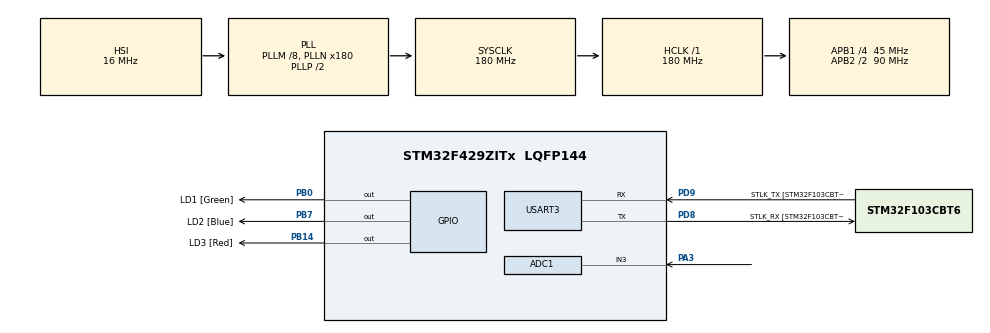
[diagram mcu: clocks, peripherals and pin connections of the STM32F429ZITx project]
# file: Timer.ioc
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ADC1.Channel-0\#ChannelRegularConversion=ADC_CHANNEL_3
ADC1.ExternalTrigConv=ADC_EXTERNALTRIGCONV_T2_TRGO
ADC1.NbrOfConversionFlag=1
ADC1.Rank-0\#ChannelRegularConversion=1
ADC1.SamplingTime-0\#ChannelRegularConversion=ADC_SAMPLETIME_3CYCLES
ADC1.master=1
Mcu.Family=STM32F4
Mcu.Name=STM32F429ZITx
Mcu.Package=LQFP144
NVIC.ADC_IRQn=true\:0\:0\:false\:false\:true\:true\:true\:true
NVIC.PriorityGroup=NVIC_PRIORITYGROUP_4
PA13.GPIO_Label=TMS
PA13.Mode=Serial_Wire
PA13.Signal=SYS_JTMS-SWDIO
PA14.GPIO_Label=TCK
PA14.Mode=Serial_Wire
PA14.Signal=SYS_JTCK-SWCLK
PA3.Signal=ADCx_IN3
PB0.GPIO_Label=LD1 [Green]
PB0.Signal=GPIO_Output
PB14.GPIO_Label=LD3 [Red]
PB14.Signal=GPIO_Output
PB7.GPIO_Label=LD2 [Blue]
PB7.Signal=GPIO_Output
PC14/OSC32_IN.Mode=LSE-External-Oscillator
PC14/OSC32_IN.Signal=RCC_OSC32_IN
PC15/OSC32_OUT.Mode=LSE-External-Oscillator
PC15/OSC32_OUT.Signal=RCC_OSC32_OUT
PD8.GPIO_Label=STLK_RX [STM32F103CBT6_PA3]
PD8.Mode=Asynchronous
PD8.Signal=USART3_TX
PD9.GPIO_Label=STLK_TX [STM32F103CBT6_PA2]
PD9.Mode=Asynchronous
PD9.Signal=USART3_RX
PH0/OSC_IN.GPIO_Label=MCO [STM32F103CBT6_PA8]
PH0/OSC_IN.Mode=HSE-External-Clock-Source
PH0/OSC_IN.Signal=RCC_OSC_IN
PH1/OSC_OUT.Mode=HSE-External-Clock-Source
PH1/OSC_OUT.Signal=RCC_OSC_OUT
ProjectManager.HeapSize=0x200
ProjectManager.StackSize=0x400
ProjectManager.TargetToolchain=STM32CubeIDE
RCC.48MHZClocksFreq_Value=51428571.428571425
RCC.AHBFreq_Value=180000000
RCC.APB1CLKDivider=RCC_HCLK_DIV4
RCC.APB1Freq_Value=45000000
RCC.APB1TimFreq_Value=90000000
RCC.APB2CLKDivider=RCC_HCLK_DIV2
RCC.APB2Freq_Value=90000000
RCC.APB2TimFreq_Value=180000000
RCC.CortexFreq_Value=180000000
RCC.HCLKFreq_Value=180000000
RCC.HSE_VALUE=8000000
RCC.HSI_VALUE=16000000
RCC.PLLM=8
RCC.PLLMUL=RCC_PLL_MUL9
RCC.PLLN=180
RCC.PLLQ=7
RCC.PRESCALERUSB=RCC_USBCLKSOURCE_PLL_DIV1_5
RCC.SYSCLKFreq_VALUE=180000000
RCC.SYSCLKSource=RCC_SYSCLKSOURCE_PLLCLK
RCC.SYSCLKSourceVirtual=RCC_SYSCLKSOURCE_PLLCLK
RCC.USBFreq_Value=48000000
RCC.VCOOutputFreq_Value=360000000
SH.ADCx_IN3.0=ADC1_IN3,IN3
TIM2.AutoReloadPreload=TIM_AUTORELOAD_PRELOAD_ENABLE
TIM2.CounterMode=TIM_COUNTERMODE_UP
TIM2.Period=9000000-1
TIM2.TIM_MasterOutputTrigger=TIM_TRGO_UPDATE
USART3.VirtualMode=VM_ASYNC
VP_TIM2_VS_ClockSourceINT.Mode=Internal
board=NUCLEO-F429ZI

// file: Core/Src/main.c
/* USER CODE BEGIN Header */
/**
  ******************************************************************************
  * @file           : main.c
  * @brief          : Main program body
  ******************************************************************************
  * @attention
  *
  * Copyright (c) 2024 STMicroelectronics.
  * All rights reserved.
  *
  * This software is licensed under terms that can be found in the LICENSE file
  * in the root directory of this software component.
  * If no LICENSE file comes with this software, it is provided AS-IS.
  *
  ******************************************************************************
  */
/* USER CODE END Header */
#include "main.h"
#include "adc.h"
#include "tim.h"
#include "usart.h"
#include "gpio.h"

/* USER CODE BEGIN Includes */
#include <stdio.h>
#include "app.h"
/* USER CODE END Includes */

/* USER CODE BEGIN PV */
extern TIM_HandleTypeDef htim2;
extern ADC_HandleTypeDef hadc1;
extern UART_HandleTypeDef huart3;
/* USER CODE END PV */

void SystemClock_Config(void);
volatile uint16_t flag_adc = 0;
/* USER CODE BEGIN PFP */
uint16_t valor_adc = 0;
float volt = 0.0;
char datos[10];

/* USER CODE END PFP */

int main(void)
{

  /* MCU Configuration--------------------------------------------------------*/

  /* Reset of all peripherals, Initializes the Flash interface and the Systick. */
  HAL_Init();

  /* Configure the system clock */
  SystemClock_Config();

  /* Initialize all configured peripherals */
  MX_GPIO_Init();
  MX_USART3_UART_Init();
  MX_TIM2_Init();
  MX_ADC1_Init();
  /* USER CODE BEGIN 2 */
  //HAL_TIM_Base_Start_IT(&htim2);
  HAL_TIM_Base_Start(&htim2);
  HAL_ADC_Start_IT(&hadc1);

  /* USER CODE END 2 */

  /* Infinite loop */
  while (1)
  {

    /* USER CODE BEGIN 3 */
	  app_main();
	  if(flag_adc)
	  {
		  valor_adc = HAL_ADC_GetValue(&hadc1);
		  volt = valor_adc*3.6/4095;
		  sprintf(datos,"%.2f \r\n",volt);
		  HAL_UART_Transmit(&huart3, datos, sizeof(datos), HAL_MAX_DELAY);
		  flag_adc = 0;
	  }
  }
  /* USER CODE END 3 */
}

void SystemClock_Config(void)
{
  RCC_OscInitTypeDef RCC_OscInitStruct = {0};
  RCC_ClkInitTypeDef RCC_ClkInitStruct = {0};

  /** Configure the main internal regulator output voltage
  */
  __HAL_RCC_PWR_CLK_ENABLE();
  __HAL_PWR_VOLTAGESCALING_CONFIG(PWR_REGULATOR_VOLTAGE_SCALE1);

  /** Initializes the RCC Oscillators according to the specified parameters
  * in the RCC_OscInitTypeDef structure.
  */
  RCC_OscInitStruct.OscillatorType = RCC_OSCILLATORTYPE_HSI;
  RCC_OscInitStruct.HSIState = RCC_HSI_ON;
  RCC_OscInitStruct.HSICalibrationValue = RCC_HSICALIBRATION_DEFAULT;
  RCC_OscInitStruct.PLL.PLLState = RCC_PLL_ON;
  RCC_OscInitStruct.PLL.PLLSource = RCC_PLLSOURCE_HSI;
  RCC_OscInitStruct.PLL.PLLM = 8;
  RCC_OscInitStruct.PLL.PLLN = 180;
  RCC_OscInitStruct.PLL.PLLP = RCC_PLLP_DIV2;
  RCC_OscInitStruct.PLL.PLLQ = 7;
  if (HAL_RCC_OscConfig(&RCC_OscInitStruct) != HAL_OK)
  {
    Error_Handler();
  }

  /** Activate the Over-Drive mode
  */
  if (HAL_PWREx_EnableOverDrive() != HAL_OK)
  {
    Error_Handler();
  }

  /** Initializes the CPU, AHB and APB buses clocks
  */
  RCC_ClkInitStruct.ClockType = RCC_CLOCKTYPE_HCLK|RCC_CLOCKTYPE_SYSCLK
                              |RCC_CLOCKTYPE_PCLK1|RCC_CLOCKTYPE_PCLK2;
  RCC_ClkInitStruct.SYSCLKSource = RCC_SYSCLKSOURCE_PLLCLK;
  RCC_ClkInitStruct.AHBCLKDivider = RCC_SYSCLK_DIV1;
  RCC_ClkInitStruct.APB1CLKDivider = RCC_HCLK_DIV4;
  RCC_ClkInitStruct.APB2CLKDivider = RCC_HCLK_DIV2;

  if (HAL_RCC_ClockConfig(&RCC_ClkInitStruct, FLASH_LATENCY_5) != HAL_OK)
  {
    Error_Handler();
  }
}

/* USER CODE BEGIN 4 */
/*
void HAL_TIM_PeriodElapsedCallback(TIM_HandleTypeDef *htim)
{
	HAL_GPIO_TogglePin(LD2_GPIO_Port, LD2_Pin);
}*/
void HAL_ADC_ConvCpltCallback(ADC_HandleTypeDef *hadc)
{
	flag_adc = 1;
}

/* USER CODE END 4 */

void Error_Handler(void)
{
  __disable_irq();
  while (1)
  {
  }
}
